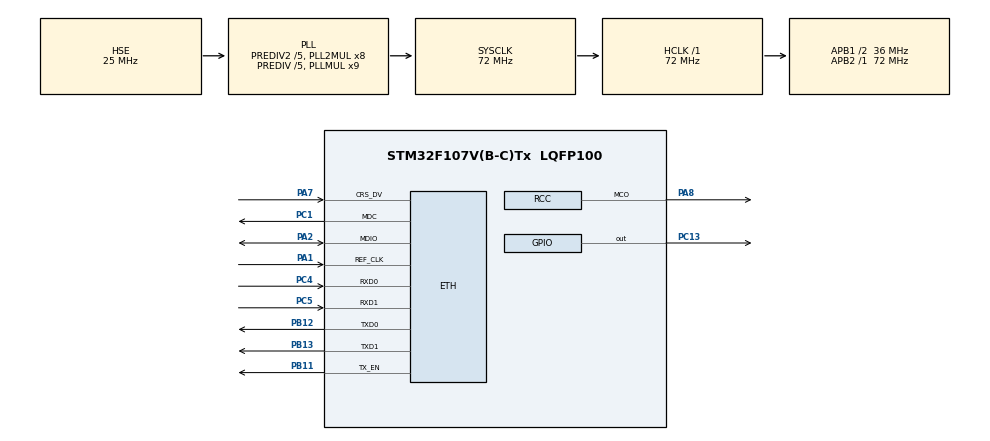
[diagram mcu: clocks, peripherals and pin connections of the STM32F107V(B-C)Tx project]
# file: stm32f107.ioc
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ETH.MediaInterface=ETH_MEDIA_INTERFACE_RMII
ETH.PHY_Name_RMII=DP83848_PHY_ADDRESS
LWIP.LWIP_DHCP=1
LWIP.LWIP_DNS=1
LWIP.LWIP_HTTPD=1
LWIP.LWIP_HTTPD_CGI=1
LWIP.LWIP_HTTPD_CGI_SSI=0
LWIP.LWIP_HTTPD_CUSTOM_FILES=0
LWIP.LWIP_HTTPD_SSI=1
LWIP.LWIP_HTTPD_SSI_RAW=1
LWIP.LWIP_NETIF_LINK_CALLBACK=0
LWIP.LWIP_UDP=1
LWIP.PAP_SUPPORT=1
LWIP.PPPOE_SUPPORT=1
LWIP.PPPOL2TP_SUPPORT=0
LWIP.PPPOS_SUPPORT=0
LWIP.PPP_SUPPORT=1
LWIP.Version=v2.0.3_Cube
Mcu.Family=STM32F1
Mcu.Name=STM32F107V(B-C)Tx
Mcu.Package=LQFP100
NVIC.ETH_IRQn=true\:0\:0\:false\:false\:true\:true\:true
NVIC.PriorityGroup=NVIC_PRIORITYGROUP_4
OSC_IN.Mode=HSE-External-Oscillator
OSC_IN.Signal=RCC_OSC_IN
OSC_OUT.Mode=HSE-External-Oscillator
OSC_OUT.Signal=RCC_OSC_OUT
PA1.Mode=RMII
PA1.Signal=ETH_REF_CLK
PA13.Mode=Serial_Wire
PA13.Signal=SYS_JTMS-SWDIO
PA14.Mode=Serial_Wire
PA14.Signal=SYS_JTCK-SWCLK
PA2.Mode=RMII
PA2.Signal=ETH_MDIO
PA7.Mode=RMII
PA7.Signal=ETH_CRS_DV
PA8.GPIO_Speed=GPIO_SPEED_FREQ_HIGH
PA8.Mode=Clock-out
PA8.Signal=RCC_MCO
PB11.Mode=RMII
PB11.Signal=ETH_TX_EN
PB12.Mode=RMII
PB12.Signal=ETH_TXD0
PB13.Mode=RMII
PB13.Signal=ETH_TXD1
PC1.Mode=RMII
PC1.Signal=ETH_MDC
PC13-TAMPER-RTC.Signal=GPIO_Output
PC4.Mode=RMII
PC4.Signal=ETH_RXD0
PC5.Mode=RMII
PC5.Signal=ETH_RXD1
ProjectManager.HeapSize=0x200
ProjectManager.StackSize=0x400
ProjectManager.TargetToolchain=MDK-ARM V5.27
RCC.AHBFreq_Value=72000000
RCC.APB1CLKDivider=RCC_HCLK_DIV2
RCC.APB1Freq_Value=36000000
RCC.APB1TimFreq_Value=72000000
RCC.APB2Freq_Value=72000000
RCC.APB2TimFreq_Value=72000000
RCC.HCLKFreq_Value=72000000
RCC.HSEDivPLL=RCC_HSE_PREDIV_DIV5
RCC.HSE_VALUE=25000000
RCC.PLL3Mul=RCC_PLLI2S_MUL10
RCC.PLLMUL=RCC_PLL_MUL9
RCC.PLLSourceVirtual=RCC_PLLSOURCE_HSE
RCC.Prediv1Source=RCC_PREDIV1_SOURCE_PLL2
RCC.Prediv2=RCC_HSE_PREDIV2_DIV5
RCC.RCC_MCOSource=RCC_MCO1SOURCE_PLL3CLK
RCC.SYSCLKFreq_VALUE=72000000
RCC.SYSCLKSource=RCC_SYSCLKSOURCE_PLLCLK
RCC.USBFreq_Value=48000000
VP_LWIP_VS_Enabled.Mode=Enabled
board=custom

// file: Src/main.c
/* USER CODE BEGIN Header */
/**
  ******************************************************************************
  * @file           : main.c
  * @brief          : Main program body
  ******************************************************************************
  * @attention
  *
  * <h2><center>&copy; Copyright (c) 2020 STMicroelectronics.
  * All rights reserved.</center></h2>
  *
  * This software component is licensed by ST under Ultimate Liberty license
  * SLA0044, the "License"; You may not use this file except in compliance with
  * the License. You may obtain a copy of the License at:
  *                             www.st.com/SLA0044
  *
  ******************************************************************************
  */
/* USER CODE END Header */

#include "main.h"
#include "lwip.h"

/* USER CODE BEGIN Includes */
#include "dns.h"
#include "string.h"
/* USER CODE END Includes */

void SystemClock_Config(void);
static void MX_GPIO_Init(void);

/* USER CODE BEGIN 0 */
extern uint8_t flag_LedOnAllTheTime;
extern uint32_t LedTimed;
extern uint8_t flag_LedFlicker;
uint8_t flag_GetIpAddr = 1;
ip_addr_t dest_ipaddr;
char ipStr[20] = {0};
char urlStr[50] = {0};
void dns_callback(const char *name,const ip_addr_t *ipaddr, void *callback_arg);
/* USER CODE END 0 */

int main(void)
{

  /* MCU Configuration--------------------------------------------------------*/

  /* Reset of all peripherals, Initializes the Flash interface and the Systick. */
  HAL_Init();

  /* Configure the system clock */
  SystemClock_Config();

  /* Initialize all configured peripherals */
  MX_GPIO_Init();
  MX_LWIP_Init();
  /* USER CODE BEGIN 2 */
  httpd_init();
  httpd_ssi_cgi_init();
  strcpy(urlStr, "www.baidu.com");
  /* USER CODE END 2 */

  /* Infinite loop */
  while (1)
  {

    /* USER CODE BEGIN 3 */
	  MX_LWIP_Process();
	  if(flag_GetIpAddr && HAL_GetTick() > 10000){
		  flag_GetIpAddr = 0;
		  dns_gethostbyname(urlStr,&dest_ipaddr,dns_callback,NULL);
	  }
	  if(flag_LedOnAllTheTime == RESET && LedTimed == 0){
		  flag_LedFlicker = RESET;
		  LED_OFF();
	  }
  }
  /* USER CODE END 3 */
}

void SystemClock_Config(void)
{
  RCC_OscInitTypeDef RCC_OscInitStruct = {0};
  RCC_ClkInitTypeDef RCC_ClkInitStruct = {0};

  /** Initializes the CPU, AHB and APB busses clocks
  */
  RCC_OscInitStruct.OscillatorType = RCC_OSCILLATORTYPE_HSE;
  RCC_OscInitStruct.HSEState = RCC_HSE_ON;
  RCC_OscInitStruct.HSEPredivValue = RCC_HSE_PREDIV_DIV5;
  RCC_OscInitStruct.HSIState = RCC_HSI_ON;
  RCC_OscInitStruct.Prediv1Source = RCC_PREDIV1_SOURCE_PLL2;
  RCC_OscInitStruct.PLL.PLLState = RCC_PLL_ON;
  RCC_OscInitStruct.PLL.PLLSource = RCC_PLLSOURCE_HSE;
  RCC_OscInitStruct.PLL.PLLMUL = RCC_PLL_MUL9;
  RCC_OscInitStruct.PLL2.PLL2State = RCC_PLL2_ON;
  RCC_OscInitStruct.PLL2.PLL2MUL = RCC_PLL2_MUL8;
  RCC_OscInitStruct.PLL2.HSEPrediv2Value = RCC_HSE_PREDIV2_DIV5;
  if (HAL_RCC_OscConfig(&RCC_OscInitStruct) != HAL_OK)
  {
    Error_Handler();
  }
  /** Initializes the CPU, AHB and APB busses clocks
  */
  RCC_ClkInitStruct.ClockType = RCC_CLOCKTYPE_HCLK|RCC_CLOCKTYPE_SYSCLK
                              |RCC_CLOCKTYPE_PCLK1|RCC_CLOCKTYPE_PCLK2;
  RCC_ClkInitStruct.SYSCLKSource = RCC_SYSCLKSOURCE_PLLCLK;
  RCC_ClkInitStruct.AHBCLKDivider = RCC_SYSCLK_DIV1;
  RCC_ClkInitStruct.APB1CLKDivider = RCC_HCLK_DIV2;
  RCC_ClkInitStruct.APB2CLKDivider = RCC_HCLK_DIV1;

  if (HAL_RCC_ClockConfig(&RCC_ClkInitStruct, FLASH_LATENCY_2) != HAL_OK)
  {
    Error_Handler();
  }
  HAL_RCC_MCOConfig(RCC_MCO, RCC_MCO1SOURCE_PLL3CLK, RCC_MCODIV_1);
  /** Configure the Systick interrupt time
  */
  __HAL_RCC_HSE_PREDIV2_CONFIG(RCC_HSE_PREDIV2_DIV5);
  /** Configure the Systick interrupt time
  */
  __HAL_RCC_PLLI2S_CONFIG(RCC_PLLI2S_MUL10);
  /** Configure the Systick interrupt time
  */
  __HAL_RCC_PLLI2S_ENABLE();
}

static void MX_GPIO_Init(void)
{
  GPIO_InitTypeDef GPIO_InitStruct = {0};

  /* GPIO Ports Clock Enable */
  __HAL_RCC_GPIOC_CLK_ENABLE();
  __HAL_RCC_GPIOA_CLK_ENABLE();
  __HAL_RCC_GPIOB_CLK_ENABLE();

  /*Configure GPIO pin Output Level */
  HAL_GPIO_WritePin(GPIOC, GPIO_PIN_13, GPIO_PIN_RESET);

  /*Configure GPIO pin : PC13 */
  GPIO_InitStruct.Pin = GPIO_PIN_13;
  GPIO_InitStruct.Mode = GPIO_MODE_OUTPUT_PP;
  GPIO_InitStruct.Pull = GPIO_NOPULL;
  GPIO_InitStruct.Speed = GPIO_SPEED_FREQ_LOW;
  HAL_GPIO_Init(GPIOC, &GPIO_InitStruct);

  /*Configure GPIO pin : PA8 */
  GPIO_InitStruct.Pin = GPIO_PIN_8;
  GPIO_InitStruct.Mode = GPIO_MODE_AF_PP;
  GPIO_InitStruct.Speed = GPIO_SPEED_FREQ_HIGH;
  HAL_GPIO_Init(GPIOA, &GPIO_InitStruct);

}

/* USER CODE BEGIN 4 */
void dns_callback(const char *name,const ip_addr_t *ipaddr, void *callback_arg)
{
	memset(ipStr, 0 , sizeof(ipStr));
	strcpy(ipStr, ip4addr_ntoa(ipaddr)) ;
}
/* USER CODE END 4 */

void Error_Handler(void)
{
}

/************************ (C) COPYRIGHT STMicroelectronics *****END OF FILE****/
